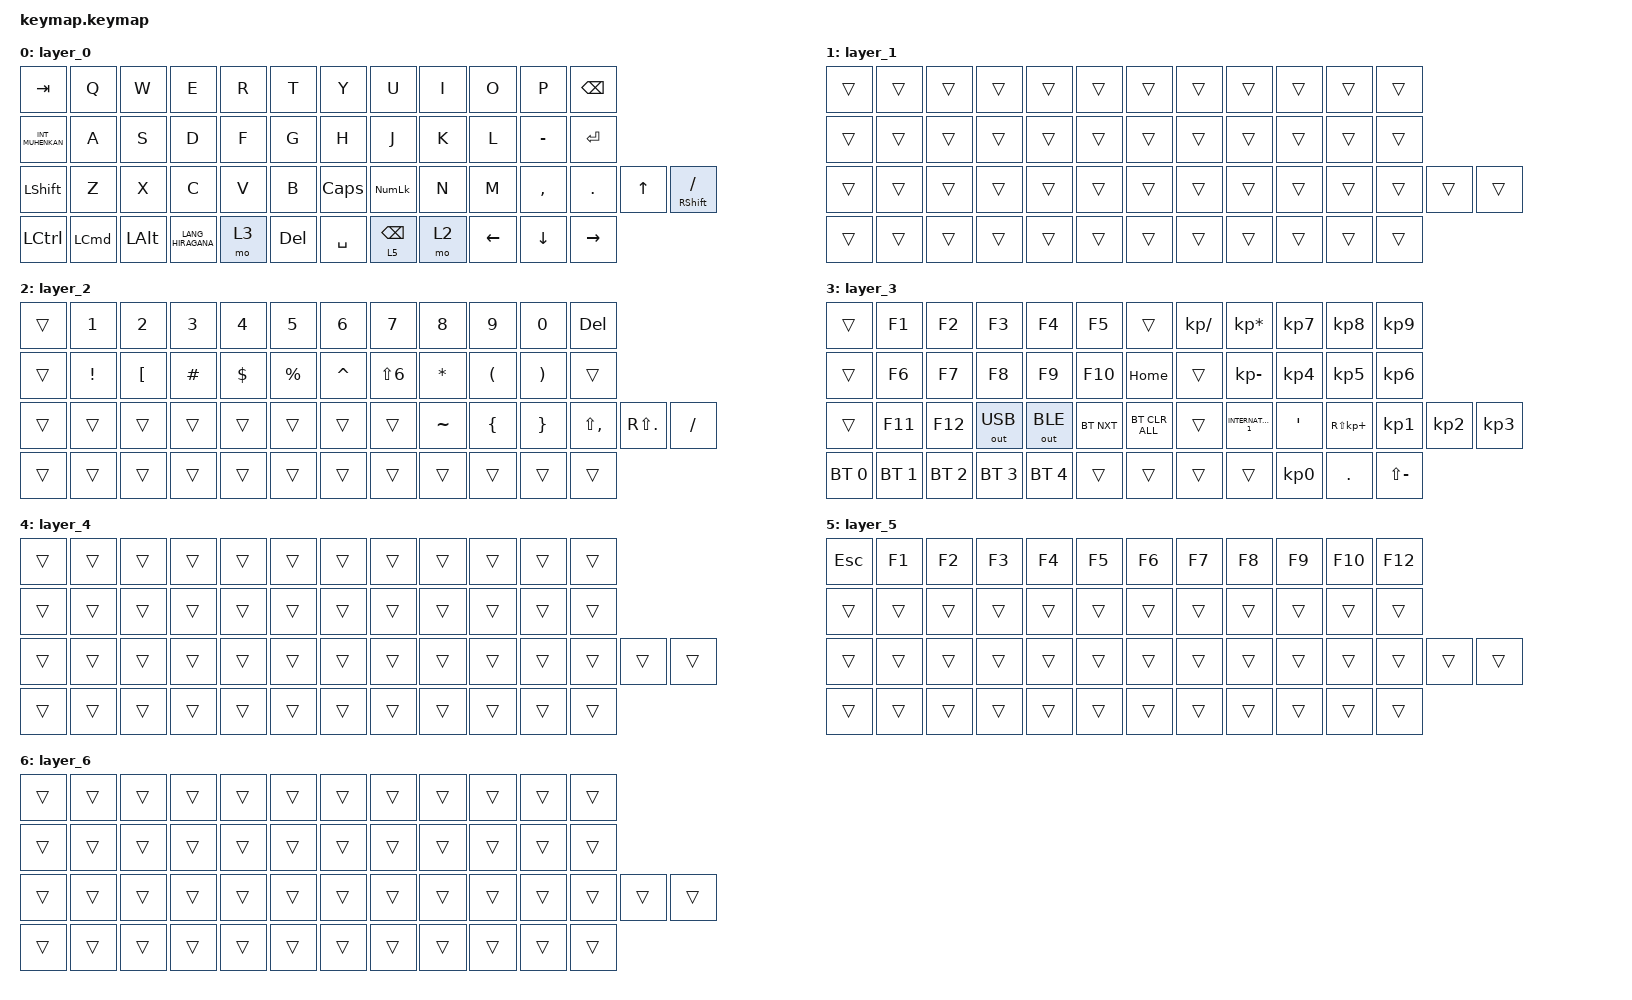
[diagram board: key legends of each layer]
#include <behaviors.dtsi>
#include <dt-bindings/zmk/bt.h>
#include <dt-bindings/zmk/keys.h>
#include <dt-bindings/zmk/outputs.h>
#include <dt-bindings/zmk/pointing.h>

/ {
    combos {
        compatible = "zmk,combos";

        bt_clear {
            bindings = <&bt BT_CLR>;
            key-positions = <28 29>;
            layers = <2>;
        };

        left_Click {
            bindings = <&mkp LCLK>;
            key-positions = <19 20>;
        };

        right_Click {
            bindings = <&mkp RCLK>;
            key-positions = <20 21>;
        };

        middle_Click {
            bindings = <&mkp MCLK>;
            key-positions = <19 20 21>;
        };

        next_Click {
            bindings = <&mkp MB5>;
            key-positions = <33 34>;
        };

        prev_Click {
            bindings = <&mkp MB4>;
            key-positions = <34 35>;
        };
    };

    keymap {
        compatible = "zmk,keymap";

        layer_0 {
            bindings = <
&kp TAB           &kp Q             &kp W     &kp E              &kp R  &kp T       &kp Y      &kp U            &kp I  &kp O           &kp P           &kp BSPC
&kp INT_MUHENKAN  &kp A             &kp S     &kp D              &kp F  &kp G       &kp H      &kp J            &kp K  &kp L           &kp MINUS       &kp ENTER
&kp LSHFT         &kp Z             &kp X     &kp C              &kp V  &kp B       &kp CAPS   &kp KP_NUMLOCK   &kp N  &kp M           &kp COMMA       &kp DOT          &kp UP_ARROW  &mt RSHFT SLASH
&kp LCTRL         &kp LEFT_COMMAND  &kp LALT  &kp LANG_HIRAGANA  &mo 3  &kp DELETE  &kp SPACE  &lt 5 BACKSPACE  &mo 2  &kp LEFT_ARROW  &kp DOWN_ARROW  &kp RIGHT_ARROW
            >;
        };

        layer_1 {
            bindings = <
&trans  &trans  &trans  &trans  &trans  &trans  &trans  &trans  &trans  &trans  &trans  &trans
&trans  &trans  &trans  &trans  &trans  &trans  &trans  &trans  &trans  &trans  &trans  &trans
&trans  &trans  &trans  &trans  &trans  &trans  &trans  &trans  &trans  &trans  &trans  &trans  &trans  &trans
&trans  &trans  &trans  &trans  &trans  &trans  &trans  &trans  &trans  &trans  &trans  &trans
            >;
        };

        layer_2 {
            bindings = <
&trans  &kp N1    &kp N2            &kp N3    &kp N4      &kp N5     &kp N6     &kp N7            &kp N8     &kp N9                &kp N0                 &kp DELETE
&trans  &kp EXCL  &kp LEFT_BRACKET  &kp HASH  &kp DOLLAR  &kp PRCNT  &kp CARET  &kp LS(NUMBER_6)  &kp ASTRK  &kp LEFT_PARENTHESIS  &kp RIGHT_PARENTHESIS  &trans
&trans  &trans    &trans            &trans    &trans      &trans     &trans     &trans            &kp TILDE  &kp LEFT_BRACE        &kp RIGHT_BRACE        &kp LS(COMMA)  &kp RS(PERIOD)  &kp SLASH
&trans  &trans    &trans            &trans    &trans      &trans     &trans     &trans            &trans     &trans                &trans                 &trans
            >;
        };

        layer_3 {
            bindings = <
&trans        &kp F1        &kp F2        &kp F3        &kp F4        &kp F5      &trans          &kp KP_SLASH  &kp KP_ASTERISK      &kp KP_NUMBER_7   &kp KP_NUMBER_8  &kp KP_NUMBER_9
&trans        &kp F6        &kp F7        &kp F8        &kp F9        &kp F10     &kp HOME        &trans        &kp KP_MINUS         &kp KP_NUMBER_4   &kp KP_NUMBER_5  &kp KP_NUMBER_6
&trans        &kp F11       &kp F12       &out OUT_USB  &out OUT_BLE  &bt BT_NXT  &bt BT_CLR_ALL  &trans        &kp INTERNATIONAL_1  &kp SINGLE_QUOTE  &kp RS(KP_PLUS)  &kp KP_NUMBER_1  &kp KP_NUMBER_2  &kp KP_NUMBER_3
&bt BT_SEL 0  &bt BT_SEL 1  &bt BT_SEL 2  &bt BT_SEL 3  &bt BT_SEL 4  &trans      &trans          &trans        &trans               &kp KP_NUMBER_0   &kp DOT          &kp LS(MINUS)
            >;
        };

        layer_4 {
            bindings = <
&trans  &trans  &trans  &trans  &trans  &trans  &trans  &trans  &trans  &trans  &trans  &trans
&trans  &trans  &trans  &trans  &trans  &trans  &trans  &trans  &trans  &trans  &trans  &trans
&trans  &trans  &trans  &trans  &trans  &trans  &trans  &trans  &trans  &trans  &trans  &trans  &trans  &trans
&trans  &trans  &trans  &trans  &trans  &trans  &trans  &trans  &trans  &trans  &trans  &trans
            >;
        };

        layer_5 {
            bindings = <
&kp ESC  &kp F1  &kp F2  &kp F3  &kp F4  &kp F5  &kp F6  &kp F7  &kp F8  &kp F9  &kp F10  &kp F12
&trans   &trans  &trans  &trans  &trans  &trans  &trans  &trans  &trans  &trans  &trans   &trans
&trans   &trans  &trans  &trans  &trans  &trans  &trans  &trans  &trans  &trans  &trans   &trans   &trans  &trans
&trans   &trans  &trans  &trans  &trans  &trans  &trans  &trans  &trans  &trans  &trans   &trans
            >;
        };

        layer_6 {
            bindings = <
&trans  &trans  &trans  &trans  &trans  &trans  &trans  &trans  &trans  &trans  &trans  &trans
&trans  &trans  &trans  &trans  &trans  &trans  &trans  &trans  &trans  &trans  &trans  &trans
&trans  &trans  &trans  &trans  &trans  &trans  &trans  &trans  &trans  &trans  &trans  &trans  &trans  &trans
&trans  &trans  &trans  &trans  &trans  &trans  &trans  &trans  &trans  &trans  &trans  &trans
            >;
        };
    };
};
